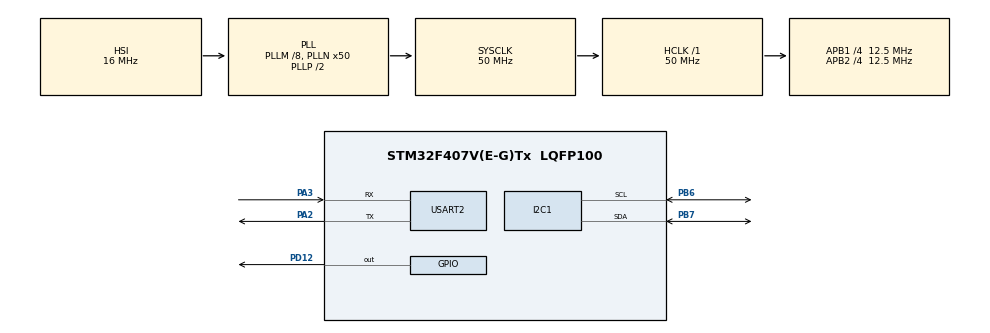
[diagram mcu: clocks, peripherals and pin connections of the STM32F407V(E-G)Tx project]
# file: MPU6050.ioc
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Mcu.Family=STM32F4
RCC.CortexFreq_Value=50000000
RCC.APB1CLKDivider=RCC_HCLK_DIV4
RCC.SYSCLKSource=RCC_SYSCLKSOURCE_PLLCLK
ProjectManager.StackSize=0x400
PA3.Mode=Asynchronous
ProjectManager.TargetToolchain=STM32CubeIDE
I2C1.I2C_Mode=I2C_Fast
RCC.HCLKFreq_Value=50000000
I2C1.DutyCycle=I2C_DUTYCYCLE_16_9
RCC.APB2TimFreq_Value=25000000
PB6.Signal=I2C1_SCL
PB6.Mode=I2C
RCC.AHBFreq_Value=50000000
RCC.HSE_VALUE=8000000
board=STM32F407G-DISC1
RCC.VCOOutputFreq_Value=100000000
RCC.APB2Freq_Value=12500000
PB7.Signal=I2C1_SDA
Mcu.Name=STM32F407V(E-G)Tx
PA2.Signal=USART2_TX
RCC.48MHZClocksFreq_Value=14285714.285714285
RCC.SYSCLKFreq_VALUE=50000000
Mcu.Package=LQFP100
USART2.VirtualMode=VM_ASYNC
PD12.Signal=GPIO_Output
PB7.Mode=I2C
ProjectManager.HeapSize=0x200
RCC.HSI_VALUE=16000000
RCC.PLLQ=7
NVIC.PriorityGroup=NVIC_PRIORITYGROUP_0
RCC.APB2CLKDivider=RCC_HCLK_DIV4
RCC.PLLM=8
RCC.PLLN=50
RCC.APB1TimFreq_Value=25000000
PA2.Mode=Asynchronous
RCC.APB1Freq_Value=12500000
PA3.Signal=USART2_RX

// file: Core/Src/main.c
/* USER CODE BEGIN Header */
/**
  ******************************************************************************
  * @file           : main.c
  * @brief          : Main program body
  ******************************************************************************
  * @attention
  *
  * <h2><center>&copy; Copyright (c) 2021 STMicroelectronics.
  * All rights reserved.</center></h2>
  *
  * This software component is licensed by ST under Ultimate Liberty license
  * SLA0044, the "License"; You may not use this file except in compliance with
  * the License. You may obtain a copy of the License at:
  *                             www.st.com/SLA0044
  *
  ******************************************************************************
  */
/* USER CODE END Header */
//#define ARM_MATH_CM4

#include "main.h"
/* USER CODE BEGIN Includes */
#include "mpu6050.h"
#include "kalmanFilter.h"
//#include "arm_math.h"
#include <string.h>
/* USER CODE END Includes */

/* USER CODE BEGIN PTD */
#define DEG2RAD		0.0174533
/* USER CODE END PTD */

I2C_HandleTypeDef hi2c1;

UART_HandleTypeDef huart2;

void SystemClock_Config(void);
static void MX_GPIO_Init(void);
static void MX_I2C1_Init(void);
static void MX_USART2_UART_Init(void);

/* USER CODE BEGIN 0 */
// RawData_Def accelRawData, gyroRawData;

/* USER CODE END 0 */

int main(void)
{
  /* USER CODE BEGIN 1 */
	MPU_ConfigTypeDef mpuConfig;
	float allData[6] = {0.0};
  /* USER CODE END 1 */

  /* MCU Configuration--------------------------------------------------------*/

  /* Reset of all peripherals, Initializes the Flash interface and the Systick. */
  HAL_Init();

  /* Configure the system clock */
  SystemClock_Config();

  /* Initialize all configured peripherals */
  MX_GPIO_Init();
  MX_I2C1_Init();
  MX_USART2_UART_Init();
  /* USER CODE BEGIN 2 */
  MPU6050_Init(&hi2c1);
  mpuConfig.Accel_Full_Scale = AFS_SEL_4g;
  mpuConfig.Gyro_Full_Scale  = FS_SEL_500;
  mpuConfig.ClockSource		 = Internal_8MHz;
  mpuConfig.CONFIG_DLPF		 = DLPF_184A_188G_Hz;
  mpuConfig.Sleep_Mode_Bit	 = 0;
  MPU6050_Config(&mpuConfig);

  ScaledData_Def accelScaledData, gyroScaledData;
  TiltAngle_Def acc_angle, gyro_angle;

  float dt;
  float old_time_instant = HAL_GetTick();
  float angles[6] = {0.0, 0.0, 0.0, 0.0, 0.0, 0.0};

  float xHat[2] = {0.0, 0.0};
  float p[2][2] = {{1.0, 1.0}, {1.0, 1.0}};
  float q[2][2] = {{0.01, 0.01}, {0.01, 0.01}};
  float r = 0.035;

  Kalman_ParamsTypeDef kalman_roll, kalman_pitch;

  KalmanFilter_initialize(&kalman_roll, xHat, p, q, r);
  KalmanFilter_initialize(&kalman_pitch, xHat, p, q, r);

  /* USER CODE END 2 */

  /* Infinite loop */
  /* USER CODE BEGIN WHILE */
  gyro_angle.roll = 0.0;
  gyro_angle.pitch = 0.0;
  gyro_angle.yaw = 0.0;

  while (1)
  {
    /* USER CODE END WHILE */

	  MPU6050_Get_Accel_ScaledData(&accelScaledData);
	  MPU6050_Get_Gyro_ScaledData(&gyroScaledData);

	  getTiltAngle_Accel(&accelScaledData, &acc_angle);

	  dt = (HAL_GetTick() - old_time_instant) / 1000.0;
	  old_time_instant = HAL_GetTick();

	  getTiltAngle_Gyro(&gyroScaledData, dt, &gyro_angle);

	  allData[0] = acc_angle.roll;
	  allData[1] = acc_angle.pitch;
	  allData[2] = acc_angle.yaw;
	  allData[3] = gyro_angle.roll * DEG2RAD;
	  allData[4] = gyro_angle.pitch * DEG2RAD;
	  allData[5] = gyro_angle.yaw * DEG2RAD;

	  // Apply kalman filter
	  KalmanFilter_update(&kalman_roll, allData[3], allData[0], dt);
	  angles[0] = allData[0];
	  angles[1] = allData[3];
	  angles[2] = KalmanFilter_getAngle(&kalman_roll);

	  KalmanFilter_update(&kalman_pitch, allData[4], allData[1], dt);
	  angles[3] = allData[1];
	  angles[4] = allData[4];
	  angles[5] = KalmanFilter_getAngle(&kalman_pitch);

	  uint8_t *byteData = (uint8_t *) (angles);
	  HAL_UART_Transmit(&huart2, byteData, sizeof(angles), 100);

	  HAL_GPIO_TogglePin(GPIOD, GPIO_PIN_12);
	  HAL_Delay(10);

  }
}

void SystemClock_Config(void)
{
  RCC_OscInitTypeDef RCC_OscInitStruct = {0};
  RCC_ClkInitTypeDef RCC_ClkInitStruct = {0};

  /** Configure the main internal regulator output voltage
  */
  __HAL_RCC_PWR_CLK_ENABLE();
  __HAL_PWR_VOLTAGESCALING_CONFIG(PWR_REGULATOR_VOLTAGE_SCALE1);
  /** Initializes the RCC Oscillators according to the specified parameters
  * in the RCC_OscInitTypeDef structure.
  */
  RCC_OscInitStruct.OscillatorType = RCC_OSCILLATORTYPE_HSI;
  RCC_OscInitStruct.HSIState = RCC_HSI_ON;
  RCC_OscInitStruct.HSICalibrationValue = RCC_HSICALIBRATION_DEFAULT;
  RCC_OscInitStruct.PLL.PLLState = RCC_PLL_ON;
  RCC_OscInitStruct.PLL.PLLSource = RCC_PLLSOURCE_HSI;
  RCC_OscInitStruct.PLL.PLLM = 8;
  RCC_OscInitStruct.PLL.PLLN = 50;
  RCC_OscInitStruct.PLL.PLLP = RCC_PLLP_DIV2;
  RCC_OscInitStruct.PLL.PLLQ = 7;
  if (HAL_RCC_OscConfig(&RCC_OscInitStruct) != HAL_OK)
  {
    Error_Handler();
  }
  /** Initializes the CPU, AHB and APB buses clocks
  */
  RCC_ClkInitStruct.ClockType = RCC_CLOCKTYPE_HCLK|RCC_CLOCKTYPE_SYSCLK
                              |RCC_CLOCKTYPE_PCLK1|RCC_CLOCKTYPE_PCLK2;
  RCC_ClkInitStruct.SYSCLKSource = RCC_SYSCLKSOURCE_PLLCLK;
  RCC_ClkInitStruct.AHBCLKDivider = RCC_SYSCLK_DIV1;
  RCC_ClkInitStruct.APB1CLKDivider = RCC_HCLK_DIV4;
  RCC_ClkInitStruct.APB2CLKDivider = RCC_HCLK_DIV4;

  if (HAL_RCC_ClockConfig(&RCC_ClkInitStruct, FLASH_LATENCY_1) != HAL_OK)
  {
    Error_Handler();
  }
}

static void MX_I2C1_Init(void)
{

  hi2c1.Instance = I2C1;
  hi2c1.Init.ClockSpeed = 400000;
  hi2c1.Init.DutyCycle = I2C_DUTYCYCLE_16_9;
  hi2c1.Init.OwnAddress1 = 0;
  hi2c1.Init.AddressingMode = I2C_ADDRESSINGMODE_7BIT;
  hi2c1.Init.DualAddressMode = I2C_DUALADDRESS_DISABLE;
  hi2c1.Init.OwnAddress2 = 0;
  hi2c1.Init.GeneralCallMode = I2C_GENERALCALL_DISABLE;
  hi2c1.Init.NoStretchMode = I2C_NOSTRETCH_DISABLE;
  if (HAL_I2C_Init(&hi2c1) != HAL_OK)
  {
    Error_Handler();
  }

}

static void MX_USART2_UART_Init(void)
{

  huart2.Instance = USART2;
  huart2.Init.BaudRate = 115200;
  huart2.Init.WordLength = UART_WORDLENGTH_8B;
  huart2.Init.StopBits = UART_STOPBITS_1;
  huart2.Init.Parity = UART_PARITY_NONE;
  huart2.Init.Mode = UART_MODE_TX_RX;
  huart2.Init.HwFlowCtl = UART_HWCONTROL_NONE;
  huart2.Init.OverSampling = UART_OVERSAMPLING_16;
  if (HAL_UART_Init(&huart2) != HAL_OK)
  {
    Error_Handler();
  }

}

static void MX_GPIO_Init(void)
{
  GPIO_InitTypeDef GPIO_InitStruct = {0};

  /* GPIO Ports Clock Enable */
  __HAL_RCC_GPIOA_CLK_ENABLE();
  __HAL_RCC_GPIOD_CLK_ENABLE();
  __HAL_RCC_GPIOB_CLK_ENABLE();

  /*Configure GPIO pin Output Level */
  HAL_GPIO_WritePin(GPIOD, GPIO_PIN_12, GPIO_PIN_RESET);

  /*Configure GPIO pin : PD12 */
  GPIO_InitStruct.Pin = GPIO_PIN_12;
  GPIO_InitStruct.Mode = GPIO_MODE_OUTPUT_PP;
  GPIO_InitStruct.Pull = GPIO_NOPULL;
  GPIO_InitStruct.Speed = GPIO_SPEED_FREQ_LOW;
  HAL_GPIO_Init(GPIOD, &GPIO_InitStruct);

}

void Error_Handler(void)
{
  __disable_irq();
  while (1)
  {
  }
}

/************************ (C) COPYRIGHT STMicroelectronics *****END OF FILE****/
